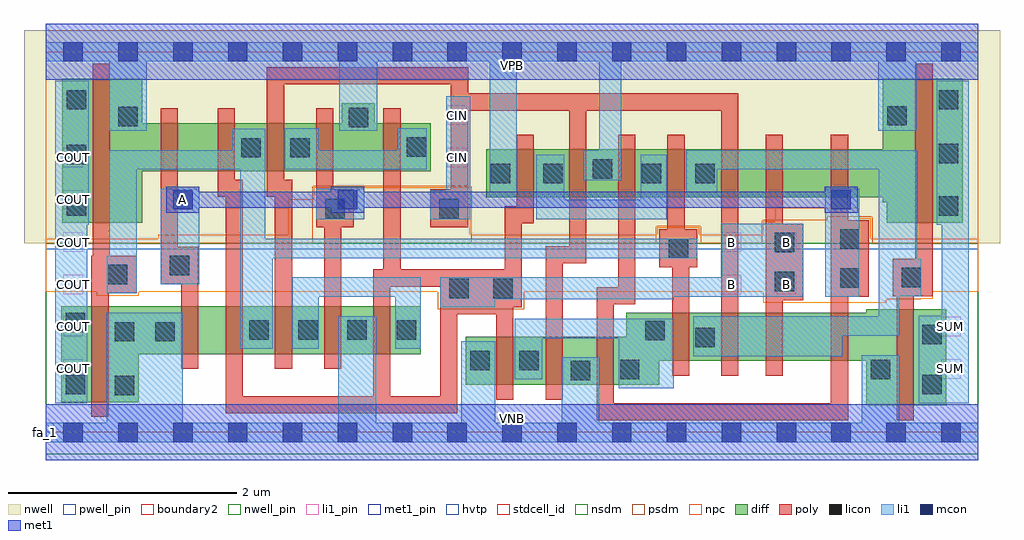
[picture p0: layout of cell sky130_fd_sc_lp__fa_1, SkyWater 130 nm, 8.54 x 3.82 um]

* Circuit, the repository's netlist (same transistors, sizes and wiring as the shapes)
* Copyright 2020 The SkyWater PDK Authors
*
* Licensed under the Apache License, Version 2.0 (the "License");
* you may not use this file except in compliance with the License.
* You may obtain a copy of the License at
*
*     https://www.apache.org/licenses/LICENSE-2.0
*
* Unless required by applicable law or agreed to in writing, software
* distributed under the License is distributed on an "AS IS" BASIS,
* WITHOUT WARRANTIES OR CONDITIONS OF ANY KIND, either express or implied.
* See the License for the specific language governing permissions and
* limitations under the License.
*
* SPDX-License-Identifier: Apache-2.0

.SUBCKT sky130_fd_sc_lp__fa_1 A B CIN VGND VNB VPB VPWR COUT SUM
*.PININFO A:I B:I CIN:I VGND:I VNB:I VPB:I VPWR:I COUT:O SUM:O
MMIN2 COUT majb VGND VNB sky130_fd_pr__nfet_01v8 m=1 w=0.84U l=0.15U mult=1 sa=0.265
+ sb=0.265 sd=0.28 area=0.063 perim=1.14
MMIN3 SUM sumb VGND VNB sky130_fd_pr__nfet_01v8 m=1 w=0.84U l=0.15U mult=1 sa=0.265
+ sb=0.265 sd=0.28 area=0.063 perim=1.14
MMNmaj10 majb B sndNAp1 VNB sky130_fd_pr__nfet_01v8 m=1 w=0.42U l=0.15U mult=1
+ sa=0.265 sb=0.265 sd=0.28 area=0.063 perim=1.14
MMNmaj11 sndNAp1 A VGND VNB sky130_fd_pr__nfet_01v8 m=1 w=0.42U l=0.15U mult=1
+ sa=0.265 sb=0.265 sd=0.28 area=0.063 perim=1.14
MMNmaj30 majb CIN sndNCINn3 VNB sky130_fd_pr__nfet_01v8 m=1 w=0.42U l=0.15U mult=1
+ sa=0.265 sb=0.265 sd=0.28 area=0.063 perim=1.14
MMNmaj31 sndNCINn3 B VGND VNB sky130_fd_pr__nfet_01v8 m=1 w=0.42U l=0.15U mult=1
+ sa=0.265 sb=0.265 sd=0.28 area=0.063 perim=1.14
MMNmaj20 VGND A sndNCINn3 VNB sky130_fd_pr__nfet_01v8 m=1 w=0.42U l=0.15U mult=1
+ sa=0.265 sb=0.265 sd=0.28 area=0.063 perim=1.14
MMNs2s0 VGND A sndNAn4 VNB sky130_fd_pr__nfet_01v8 m=1 w=0.42U l=0.15U mult=1 sa=0.265
+ sb=0.265 sd=0.28 area=0.063 perim=1.14
MMNs2s1 sndNAn4 B sndNBn4 VNB sky130_fd_pr__nfet_01v8 m=1 w=0.42U l=0.15U mult=1
+ sa=0.265 sb=0.265 sd=0.28 area=0.063 perim=1.14
MMNs2s2 sndNBn4 CIN sumb VNB sky130_fd_pr__nfet_01v8 m=1 w=0.42U l=0.15U mult=1
+ sa=0.265 sb=0.265 sd=0.28 area=0.063 perim=1.14
MMNs3s0 nint1 B VGND VNB sky130_fd_pr__nfet_01v8 m=1 w=0.42U l=0.15U mult=1 sa=0.265
+ sb=0.265 sd=0.28 area=0.063 perim=1.14
MMNs3s1 nint1 A VGND VNB sky130_fd_pr__nfet_01v8 m=1 w=0.42U l=0.15U mult=1 sa=0.265
+ sb=0.265 sd=0.28 area=0.063 perim=1.14
MMNs3s2 nint1 CIN VGND VNB sky130_fd_pr__nfet_01v8 m=1 w=0.42U l=0.15U mult=1 sa=0.265
+ sb=0.265 sd=0.28 area=0.063 perim=1.14
MMNs1s nint1 majb sumb VNB sky130_fd_pr__nfet_01v8 m=1 w=0.42U l=0.15U mult=1 sa=0.265
+ sb=0.265 sd=0.28 area=0.063 perim=1.14
MMIP2 COUT majb VPWR VPB sky130_fd_pr__pfet_01v8_hvt m=1 w=1.26U l=0.15U mult=1
+ sa=0.265 sb=0.265 sd=0.28 area=0.063 perim=1.14
MMIP3 SUM sumb VPWR VPB sky130_fd_pr__pfet_01v8_hvt m=1 w=1.26U l=0.15U mult=1
+ sa=0.265 sb=0.265 sd=0.28 area=0.063 perim=1.14
MMPmaj10 VPWR A sndPAp1 VPB sky130_fd_pr__pfet_01v8_hvt m=1 w=0.42U l=0.15U mult=1
+ sa=0.265 sb=0.265 sd=0.28 area=0.063 perim=1.14
MMPmaj11 sndPAp1 B majb VPB sky130_fd_pr__pfet_01v8_hvt m=1 w=0.42U l=0.15U mult=1
+ sa=0.265 sb=0.265 sd=0.28 area=0.063 perim=1.14
MMPmaj20 VPWR A sndPCINp3 VPB sky130_fd_pr__pfet_01v8_hvt m=1 w=0.42U l=0.15U mult=1
+ sa=0.265 sb=0.265 sd=0.28 area=0.063 perim=1.14
MMPmaj21 sndPCINp3 CIN majb VPB sky130_fd_pr__pfet_01v8_hvt m=1 w=0.42U l=0.15U mult=1
+ sa=0.265 sb=0.265 sd=0.28 area=0.063 perim=1.14
MMPmaj31 sndPCINp3 B VPWR VPB sky130_fd_pr__pfet_01v8_hvt m=1 w=0.42U l=0.15U mult=1
+ sa=0.265 sb=0.265 sd=0.28 area=0.063 perim=1.14
MMPs2s0 VPWR A sndPAp4 VPB sky130_fd_pr__pfet_01v8_hvt m=1 w=0.42U l=0.15U mult=1
+ sa=0.265 sb=0.265 sd=0.28 area=0.063 perim=1.14
MMPs2s1 sndPAp4 B sndPBp4 VPB sky130_fd_pr__pfet_01v8_hvt m=1 w=0.42U l=0.15U mult=1
+ sa=0.265 sb=0.265 sd=0.28 area=0.063 perim=1.14
MMPs2s2 sndPBp4 CIN sumb VPB sky130_fd_pr__pfet_01v8_hvt m=1 w=0.42U l=0.15U mult=1
+ sa=0.265 sb=0.265 sd=0.28 area=0.063 perim=1.14
MMPs3s0 pint1 B VPWR VPB sky130_fd_pr__pfet_01v8_hvt m=1 w=0.42U l=0.15U mult=1
+ sa=0.265 sb=0.265 sd=0.28 area=0.063 perim=1.14
MMPs3s1 pint1 A VPWR VPB sky130_fd_pr__pfet_01v8_hvt m=1 w=0.42U l=0.15U mult=1
+ sa=0.265 sb=0.265 sd=0.28 area=0.063 perim=1.14
MMPs3s2 pint1 CIN VPWR VPB sky130_fd_pr__pfet_01v8_hvt m=1 w=0.42U l=0.15U mult=1
+ sa=0.265 sb=0.265 sd=0.28 area=0.063 perim=1.14
MMPs1s pint1 majb sumb VPB sky130_fd_pr__pfet_01v8_hvt m=1 w=0.42U l=0.15U mult=1
+ sa=0.265 sb=0.265 sd=0.28 area=0.063 perim=1.14
.ENDS sky130_fd_sc_lp__fa_1

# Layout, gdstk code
import gdstk
lib = gdstk.Library(unit=1e-6, precision=1e-09)
def R(c, l, rs):  # rectangles x0, y0, x1, y1
    for r in rs: c.add(gdstk.rectangle(r[:2], r[2:], *l))
def A(c, l, x, y, w, h, nx, ny, dx, dy):  # array of equal rectangles
    R(c, l, [(x+i*dx, y+j*dy, x+i*dx+w, y+j*dy+h) for i in range(nx) for j in range(ny)])
def P(c, l, *ps):  # polygons
    for p in ps: c.add(gdstk.Polygon(p, *l))
nwell_pin = (64, 16)
nwell = (64, 20)
diff = (65, 20)
poly = (66, 20)
licon = (66, 44)
li1_pin = (67, 16)
li1 = (67, 20)
mcon = (67, 44)
met1_pin = (68, 16)
met1 = (68, 20)
hvtp = (78, 44)
stdcell_id = (81, 4)
nsdm = (93, 44)
psdm = (94, 20)
npc = (95, 20)
pwell_pin = (122, 16)
boundary2 = (236, 0)

sky130_fd_sc_lp__fa_1 = lib.new_cell('sky130_fd_sc_lp__fa_1')
R(sky130_fd_sc_lp__fa_1, nwell_pin, [(0,3.085,8.16,3.33)])
R(sky130_fd_sc_lp__fa_1, nwell, [(-0.19,1.655,8.35,3.52)])
P(sky130_fd_sc_lp__fa_1, diff, [(3.28,1.105),(0.135,1.105),(0.135,0.265),(0.815,0.265),(0.815,0.685),(3.28,0.685)],
  [(3.37,2.705),(2.88,2.705),(2.88,2.88),(2.59,2.88),(2.59,2.705),(0.845,2.705),(0.845,3.095),(0.145,3.095),(0.145,1.835),(0.845,1.835),(0.845,2.285),(3.37,2.285)],
  [(7.88,1.075),(7.18,1.075),(7.18,1.045),(5.08,1.045),(5.08,0.835),(3.675,0.835),(3.675,0.415),(5.37,0.415),(5.37,0.625),(7.18,0.625),(7.18,0.235),(7.88,0.235)],
  [(8.025,3.095),(7.325,3.095),(7.325,2.475),(3.855,2.475),(3.855,2.055),(7.325,2.055),(7.325,2.015),(7.36,2.015),(7.36,1.835),(8.025,1.835)])
P(sky130_fd_sc_lp__fa_1, poly, [(0.795,1.545),(0.56,1.545),(0.56,3.225),(0.41,3.225),(0.41,1.545),(0.4,1.545),(0.4,0.135),(0.55,0.135),(0.55,1.215),(0.795,1.215)],
  [(1.335,1.625),(1.155,1.625),(1.155,2.835),(1.005,2.835),(1.005,1.295),(1.185,1.295),(1.185,0.555),(1.335,0.555)],
  [(2.695,2.125),(2.515,2.125),(2.515,2.835),(2.365,2.835),(2.365,1.795),(2.435,1.795),(2.435,0.555),(2.585,0.555),(2.585,1.795),(2.695,1.795)],
  [(4.27,2.605),(4.12,2.605),(4.12,1.98),(4.015,1.98),(4.015,1.425),(3.45,1.425),(3.45,0.315),(3.015,0.315),(3.015,1.275),(3.45,1.275),(3.45,1.425),(3.105,1.425),(3.105,2.835),(2.955,2.835),(2.955,1.425),(2.865,1.425),(2.865,0.315),(1.725,0.315),(1.725,2.21),(1.655,2.21),(1.655,2.835),(1.505,2.835),(1.505,2.06),(1.575,2.06),(1.575,0.165),(3.6,0.165),(3.6,1.035),(3.94,1.035),(3.94,0.285),(4.09,0.285),(4.09,1.095),(4.165,1.095),(4.165,1.83),(4.27,1.83)],
  [(5.7,1.775),(5.59,1.775),(5.59,2.605),(5.44,2.605),(5.44,1.775),(5.37,1.775),(5.37,1.445),(5.48,1.445),(5.48,0.495),(5.63,0.495),(5.63,1.445),(5.7,1.445)],
  [(6.06,2.965),(3.695,2.965),(3.695,3.195),(1.935,3.195),(1.935,2.06),(2.005,2.06),(2.005,0.555),(2.155,0.555),(2.155,2.21),(2.085,2.21),(2.085,3.045),(3.545,3.045),(3.545,2.125),(3.365,2.125),(3.365,1.795),(3.695,1.795),(3.695,2.815),(4.58,2.815),(4.58,1.63),(4.375,1.63),(4.375,0.285),(4.525,0.285),(4.525,1.48),(4.73,1.48),(4.73,2.815),(5.91,2.815),(5.91,0.495),(6.06,0.495)],
  [(6.63,1.825),(6.45,1.825),(6.45,2.605),(6.3,2.605),(6.3,0.495),(6.45,0.495),(6.45,1.155),(6.63,1.155)],
  [(7.2,1.855),(7.02,1.855),(7.02,2.605),(6.87,2.605),(6.87,0.255),(4.97,0.255),(4.97,1.12),(5.16,1.12),(5.16,2.605),(5.01,2.605),(5.01,1.27),(4.82,1.27),(4.82,0.105),(7.02,0.105),(7.02,1.185),(7.2,1.185)],
  [(7.76,3.225),(7.61,3.225),(7.61,1.52),(7.41,1.52),(7.41,1.19),(7.445,1.19),(7.445,0.105),(7.595,0.105),(7.595,1.19),(7.76,1.19)])
A(sky130_fd_sc_lp__fa_1, licon, 1.78, 0.81, 0.17, 0.17, 4, 1, 0.43, 0)
R(sky130_fd_sc_lp__fa_1, licon, [(0.605,0.325,0.775,0.495), (0.175,0.335,0.345,0.505), (7.67,0.335,7.84,0.505), (4.595,0.455,4.765,0.625), (5.025,0.465,5.195,0.635), (7.22,0.465,7.39,0.635), (3.715,0.545,3.885,0.715), (4.145,0.545,4.315,0.715), (5.685,0.745,5.855,0.915), (7.67,0.77,7.84,0.94), (0.605,0.795,0.775,0.965), (0.96,0.795,1.13,0.965), (5.245,0.805,5.415,0.975), (0.175,0.875,0.345,1.045), (3.53,1.175,3.7,1.345), (3.915,1.175,4.085,1.345), (6.38,1.235,6.55,1.405), (6.95,1.265,7.12,1.435), (7.49,1.27,7.66,1.44), (0.545,1.295,0.715,1.465), (1.085,1.375,1.255,1.545), (5.45,1.525,5.62,1.695), (6.38,1.575,6.55,1.745), (6.95,1.605,7.12,1.775), (2.445,1.875,2.615,2.045), (3.445,1.875,3.615,2.045), (0.185,1.895,0.355,2.065), (7.815,1.895,7.985,2.065), (3.895,2.18,4.065,2.35), (4.355,2.18,4.525,2.35), (5.215,2.18,5.385,2.35), (5.685,2.18,5.855,2.35), (4.785,2.22,4.955,2.39), (0.185,2.345,0.355,2.515), (7.815,2.355,7.985,2.525), (1.71,2.405,1.88,2.575), (2.14,2.405,2.31,2.575), (3.16,2.41,3.33,2.58), (2.65,2.67,2.82,2.84), (0.635,2.68,0.805,2.85), (7.365,2.685,7.535,2.855), (0.185,2.825,0.355,2.995), (7.815,2.825,7.985,2.995)])
A(sky130_fd_sc_lp__fa_1, li1_pin, 0.155, 0.47, 0.17, 0.17, 1, 6, 0, 0.37)
R(sky130_fd_sc_lp__fa_1, li1_pin, [(7.835,0.47,8.005,0.64), (7.835,0.84,8.005,1.01), (5.915,1.21,6.085,1.38), (6.395,1.21,6.565,1.38), (5.915,1.58,6.085,1.75), (6.395,1.58,6.565,1.75), (3.515,2.32,3.685,2.49), (3.515,2.69,3.685,2.86)])
R(sky130_fd_sc_lp__fa_1, li1, [(6.82,1.185,7.12,2.13), (1.005,1.295,1.345,2.13), (2.365,1.865,2.785,2.13)])
P(sky130_fd_sc_lp__fa_1, li1, [(8.16,3.415),(0,3.415),(0,3.245),(0.555,3.245),(0.555,2.64),(0.885,2.64),(0.885,3.245),(2.57,3.245),(2.57,2.64),(2.9,2.64),(2.9,3.245),(3.885,3.245),(3.885,2.1),(4.12,2.1),(4.12,3.245),(4.845,3.245),(4.845,2.47),(4.705,2.47),(4.705,2.205),(5.035,2.205),(5.035,3.245),(7.285,3.245),(7.285,2.64),(7.615,2.64),(7.615,3.245),(8.16,3.245)],
  [(8.16,0.085),(7.47,0.085),(7.47,0.675),(7.14,0.675),(7.14,0.085),(4.845,0.085),(4.845,0.655),(4.515,0.655),(4.515,0.085),(3.935,0.085),(3.935,0.795),(3.635,0.795),(3.635,0.085),(2.89,0.085),(2.89,1.015),(2.56,1.015),(2.56,0.085),(1.2,0.085),(1.2,1.045),(0.535,1.045),(0.535,0.085),(0,0.085),(0,-0.085),(8.16,-0.085)],
  [(5.7,1.695),(1.92,1.695),(1.92,2.655),(1.63,2.655),(1.63,2.47),(0.555,2.47),(0.555,1.545),(0.535,1.545),(0.535,1.215),(0.795,1.215),(0.795,2.3),(1.7,2.3),(1.7,0.73),(1.985,0.73),(1.985,1.525),(5.7,1.525)],
  [(5.435,2.43),(5.205,2.43),(5.205,2.035),(4.535,2.035),(4.535,2.43),(4.29,2.43),(4.29,1.865),(5.435,1.865)],
  [(5.495,0.995),(4.105,0.995),(4.105,0.465),(4.345,0.465),(4.345,0.825),(5.015,0.825),(5.015,0.385),(5.495,0.385)],
  [(3.715,2.94),(3.505,2.94),(3.505,2.12),(3.365,2.12),(3.365,1.865),(3.715,1.865)],
  [(3.335,2.66),(3.08,2.66),(3.08,2.47),(2.39,2.47),(2.39,2.66),(2.09,2.66),(2.09,2.3),(3.335,2.3)],
  [(6.63,1.825),(5.915,1.825),(5.915,1.355),(3.45,1.355),(3.45,1.095),(3.935,1.095),(3.935,1.165),(5.495,1.165),(5.495,1.185),(6.63,1.185)],
  [(3.28,1.355),(2.155,1.355),(2.155,0.73),(2.39,0.73),(2.39,1.185),(3.06,1.185),(3.06,0.73),(3.28,0.73)],
  [(7.66,1.52),(7.625,1.52),(7.625,2.47),(5.605,2.47),(5.605,2.1),(5.875,2.1),(5.875,2.3),(7.29,2.3),(7.29,1.015),(5.665,1.015),(5.665,0.665),(6.97,0.665),(6.97,0.845),(7.47,0.845),(7.47,1.19),(7.66,1.19)],
  [(8.075,3.075),(7.795,3.075),(7.795,1.815),(7.84,1.815),(7.84,1.02),(7.64,1.02),(7.64,0.255),(8.075,0.255)],
  [(0.375,3.075),(0.085,3.075),(0.085,0.255),(0.365,0.255),(0.365,1.815),(0.375,1.815)])
A(sky130_fd_sc_lp__fa_1, mcon, 0.155, -0.085, 0.17, 0.17, 17, 2, 0.48, 3.33)
R(sky130_fd_sc_lp__fa_1, mcon, [(1.115,1.95,1.285,2.12), (2.555,1.95,2.725,2.12), (6.875,1.95,7.045,2.12)])
R(sky130_fd_sc_lp__fa_1, met1_pin, [(0,0,8.16,0.245), (1.115,1.95,1.285,2.12), (0,3.085,8.16,3.33)])
R(sky130_fd_sc_lp__fa_1, met1, [(0,-0.245,8.16,0.245), (0,3.085,8.16,3.575)])
P(sky130_fd_sc_lp__fa_1, met1, [(7.105,2.15),(6.815,2.15),(6.815,2.105),(2.785,2.105),(2.785,2.15),(2.495,2.15),(2.495,2.105),(1.345,2.105),(1.345,2.15),(1.055,2.15),(1.055,1.92),(1.345,1.92),(1.345,1.965),(2.495,1.965),(2.495,1.92),(2.785,1.92),(2.785,1.965),(6.815,1.965),(6.815,1.92),(7.105,1.92)])
R(sky130_fd_sc_lp__fa_1, hvtp, [(0,1.6,8.16,3.33)])
R(sky130_fd_sc_lp__fa_1, stdcell_id, [(0,0,8.16,3.33)])
R(sky130_fd_sc_lp__fa_1, nsdm, [(0,-0.19,8.16,1.655)])
P(sky130_fd_sc_lp__fa_1, psdm, [(8.16,3.52),(0,3.52),(0,1.655),(2.335,1.655),(2.335,2.155),(3.725,2.155),(3.725,1.655),(5.34,1.655),(5.34,1.805),(5.73,1.805),(5.73,1.655),(6.27,1.655),(6.27,1.855),(6.84,1.855),(6.84,1.885),(7.23,1.885),(7.23,1.655),(8.16,1.655)])
P(sky130_fd_sc_lp__fa_1, npc, [(8.16,1.695),(7.22,1.695),(7.22,1.875),(7.115,1.875),(7.115,1.965),(6.385,1.965),(6.385,1.845),(6.28,1.845),(6.28,1.73),(5.72,1.73),(5.72,1.795),(5.35,1.795),(5.35,1.73),(3.715,1.73),(3.715,2.145),(2.345,2.145),(2.345,2.04),(2.12,2.04),(2.12,1.73),(0.985,1.73),(0.985,1.695),(0,1.695),(0,1.23),(0.445,1.23),(0.445,1.195),(0.815,1.195),(0.815,1.23),(3.43,1.23),(3.43,1.075),(4.185,1.075),(4.185,1.23),(6.28,1.23),(6.28,1.135),(7.355,1.135),(7.355,1.165),(7.655,1.165),(7.655,1.17),(7.76,1.17),(7.76,1.23),(8.16,1.23)])
R(sky130_fd_sc_lp__fa_1, pwell_pin, [(0,0,8.16,0.245)])
R(sky130_fd_sc_lp__fa_1, boundary2, [(0,0,8.16,3.33)])
sky130_fd_sc_lp__fa_1.add(gdstk.Label('VNB', (4.08,0.123), layer=64, texttype=59))
sky130_fd_sc_lp__fa_1.add(gdstk.Label('VPB', (4.08,3.208), layer=64, texttype=5))
sky130_fd_sc_lp__fa_1.add(gdstk.Label('fa_1', (0,0), layer=83, texttype=44))
sky130_fd_sc_lp__fa_1.add(gdstk.Label('A', (1.2,2.035), layer=68, texttype=5))
sky130_fd_sc_lp__fa_1.add(gdstk.Label('VPWR', (4.08,3.208), layer=68, texttype=5))
sky130_fd_sc_lp__fa_1.add(gdstk.Label('VGND', (4.08,0.123), layer=68, texttype=5))
sky130_fd_sc_lp__fa_1.add(gdstk.Label('SUM', (7.92,0.555), layer=67, texttype=5))
sky130_fd_sc_lp__fa_1.add(gdstk.Label('SUM', (7.92,0.925), layer=67, texttype=5))
sky130_fd_sc_lp__fa_1.add(gdstk.Label('B', (6,1.295), layer=67, texttype=5))
sky130_fd_sc_lp__fa_1.add(gdstk.Label('B', (6.48,1.295), layer=67, texttype=5))
sky130_fd_sc_lp__fa_1.add(gdstk.Label('CIN', (3.6,2.405), layer=67, texttype=5))
sky130_fd_sc_lp__fa_1.add(gdstk.Label('CIN', (3.6,2.775), layer=67, texttype=5))
sky130_fd_sc_lp__fa_1.add(gdstk.Label('COUT', (0.24,0.555), layer=67, texttype=5))
sky130_fd_sc_lp__fa_1.add(gdstk.Label('COUT', (0.24,0.925), layer=67, texttype=5))
sky130_fd_sc_lp__fa_1.add(gdstk.Label('COUT', (0.24,1.295), layer=67, texttype=5))
sky130_fd_sc_lp__fa_1.add(gdstk.Label('COUT', (0.24,1.665), layer=67, texttype=5))
sky130_fd_sc_lp__fa_1.add(gdstk.Label('COUT', (0.24,2.035), layer=67, texttype=5))
sky130_fd_sc_lp__fa_1.add(gdstk.Label('COUT', (0.24,2.405), layer=67, texttype=5))
sky130_fd_sc_lp__fa_1.add(gdstk.Label('B', (6.48,1.665), layer=67, texttype=5))
sky130_fd_sc_lp__fa_1.add(gdstk.Label('B', (6,1.665), layer=67, texttype=5))

lib.write_gds('sky130_fd_sc_lp__fa_1.gds')
